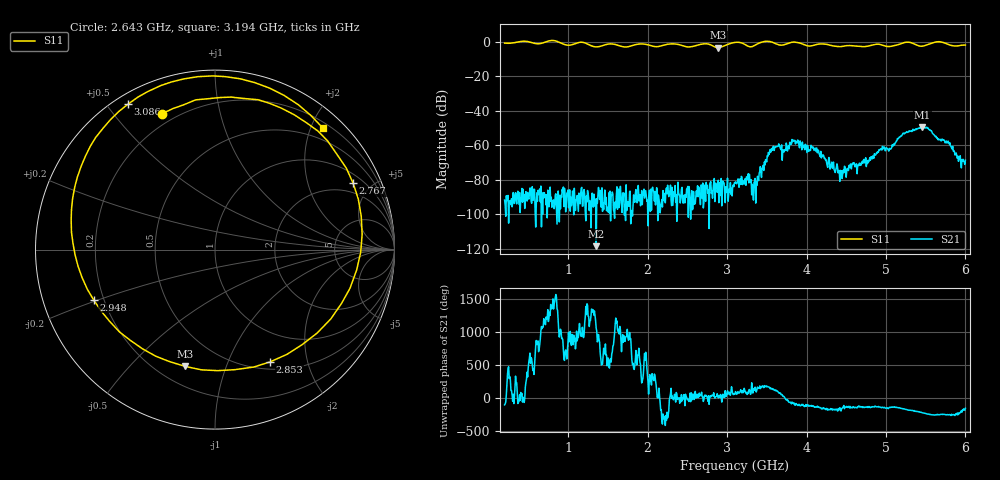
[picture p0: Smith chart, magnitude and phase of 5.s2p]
! NanoVNA-App by OneOfEleven et al v1.1.209 (+OD15)
! Date: 2024-07-30 15:11:36
! Start: 200MHz Stop: 6GHz Points: 801
! S-Parameter data: F S11 S21 S12 S22
# Hz S RI R 50
!  Frequency  S11_Real  S11_Imag  S21_Real  S21_Imag  S12_Real  S12_Imag  S22_Real  S22_Imag
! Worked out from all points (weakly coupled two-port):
!   801 points, 200 MHz to 6 GHz, reference 50 ohm
!   highest |S21| = -49.35 dB at 5.456 GHz (marker M1); lowest = -118.6 dB at 1.353 GHz (marker M2)
!   lowest |S11| = -3.5 dB at 2.89 GHz (marker M3), VSWR 5.09, Z = 15.4 - j36.6 ohm
!   |S11| at or under -10 dB: nowhere
!   S12 and S22 are empty: the file has one direction only
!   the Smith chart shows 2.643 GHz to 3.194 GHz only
!   S11 on the Smith chart (normalised r, x): 2.643 GHz: 0.15, +0.67; 2.767 GHz: 1.43, +3.90; 2.853 GHz: 0.59, -1.44; 2.948 GHz: 0.16, -0.19; 3.086 GHz: 0.04, +0.57; 3.194 GHz: 0.29, +2.19
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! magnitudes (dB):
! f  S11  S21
! 200 MHz  -0.8  -91.8
! 1.171 GHz  -0.3  -84.5
! 1.353 GHz  -3.0  -118.6
! 2.136 GHz  -2.8  -88.9
! 2.643 GHz  -1.8  -84.3
! 2.767 GHz  -1.4  -86.0
! 2.853 GHz  -3.1  -82.1
! 2.89 GHz  -3.5  -80.3
! 2.948 GHz  -2.7  -80.8
! 3.086 GHz  -0.5  -84.1
! 3.1 GHz  -0.4  -82.0
! 3.194 GHz  -0.9  -82.8
! 3.368 GHz  -1.6  -81.2
! 3.629 GHz  -1.4  -60.7
! 3.709 GHz  -1.9  -62.9
! 3.847 GHz  -0.2  -57.2
! 4.072 GHz  -2.3  -61.0
! 4.427 GHz  -2.8  -74.6
! 5.036 GHz  -2.8  -63.4
! 5.231 GHz  -0.5  -53.5
! 5.456 GHz  -2.6  -49.4
! 6 GHz  -1.9  -68.7
